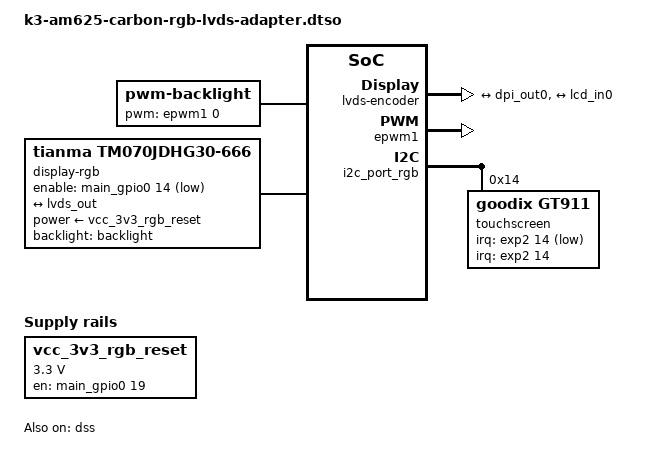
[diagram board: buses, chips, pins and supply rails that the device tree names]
// SPDX-License-Identifier: GPL-2.0-only OR MIT
/*
 * RGB to LVDS Expansion Board for carbon AM62xx
 *
 * Copyright (C) 2024 Ezurio LLC
 */

/dts-v1/;
/plugin/;

#include <dt-bindings/gpio/gpio.h>
#include <dt-bindings/interrupt-controller/irq.h>
#include "ti/k3-pinctrl.h"

&{/} {
	regulator-rgb-reset {
		/* output of U4 */
		compatible = "regulator-fixed";
		regulator-name = "vcc_3v3_rgb_reset";

		pinctrl-names = "default";
		pinctrl-0 = <&main_rgb_reset_default>;
		gpios = <&main_gpio0 19 GPIO_ACTIVE_HIGH>;
		enable-active-high;

		regulator-min-microvolt = <3300000>;
		regulator-max-microvolt = <3300000>;
	};

	backlight: backlight-rgb {
		brightness-levels = <0 1 2 3 4 5 6 7 8 9 10>;
		compatible = "pwm-backlight";
		default-brightness-level = <8>;
		pwms = <&epwm1 0 30000 0>; /* 3.3 KHz */
	};

	display-rgb {
		compatible = "tianma,tm070jdhg30-666", "panel-simple"; /* BD070LIC3 as 18bit */
		backlight = <&backlight>;
		power-supply = <&vcc_3v3_rgb_reset>;

		pinctrl-names = "default";
		pinctrl-0 = <&main_rgb_pwr_default>;
		enable-gpios = <&main_gpio0 14 GPIO_ACTIVE_LOW>;

		port {
			lcd_in0: endpoint {
				remote-endpoint = <&lvds_out>;
			};
		};
	};

	lvds-encoder {
		compatible = "ti,sn65lvds93", "lvds-encoder";

		//pclk-sample = <1>;
		max-frequency = <68000000>;
		min-frequency = <20000000>;

		ports {
			#address-cells = <1>;
			#size-cells = <0>;

			port@0 {
				reg = <0>;
				lvds_in0: endpoint {
					remote-endpoint = <&dpi_out0>;
				};
			};

			port@1 {
				reg = <1>;
				lvds_out: endpoint {
					remote-endpoint = <&lcd_in0>;
				};
			};
		};
	};
};

&main_pmx0 {
	main_rgb_pwr_default: main-rgb-pwr-default-pins {
		pinctrl-single,pins = <
			AM62X_IOPAD(0x038, PIN_INPUT, 7) /* RGB_VDD_EN (E24) OSPI0_CSn3.GPIO0_14 */
		>;
	};

	main_rgb_reset_default: main-rgb-reset-default-pins {
		pinctrl-single,pins = <
			AM62X_IOPAD(0x04c, PIN_INPUT, 7) /* RGB_RESET# (P24) GPMC0_AD4.GPIO0_19 */
		>;
	};
};

&epwm1 {
	status = "okay";
};

&dss {
	pinctrl-names = "default";
	pinctrl-0 = <&main_dss0_pins_default>;
	status = "okay";
};

&dss_ports {
	#address-cells = <1>;
	#size-cells = <0>;

	/* Video Port 2 */
	port@1 {
		reg = <1>;
		#address-cells = <1>;
		#size-cells = <0>;

		dpi_out0: endpoint {
			remote-endpoint = <&lvds_in0>;
		};
	};
};

&i2c_port_rgb {
	touchscreen@14 {
		compatible = "goodix,gt911";
		reg = <0x14>;
		interrupts-extended = <&exp2 14 IRQ_TYPE_EDGE_FALLING>;
		interrupt-names = "irq";
		irq-gpios = <&exp2 14 GPIO_ACTIVE_LOW>;
		touchscreen-size-x = <1280>;
		touchscreen-size-y = <800>;
	};
};
